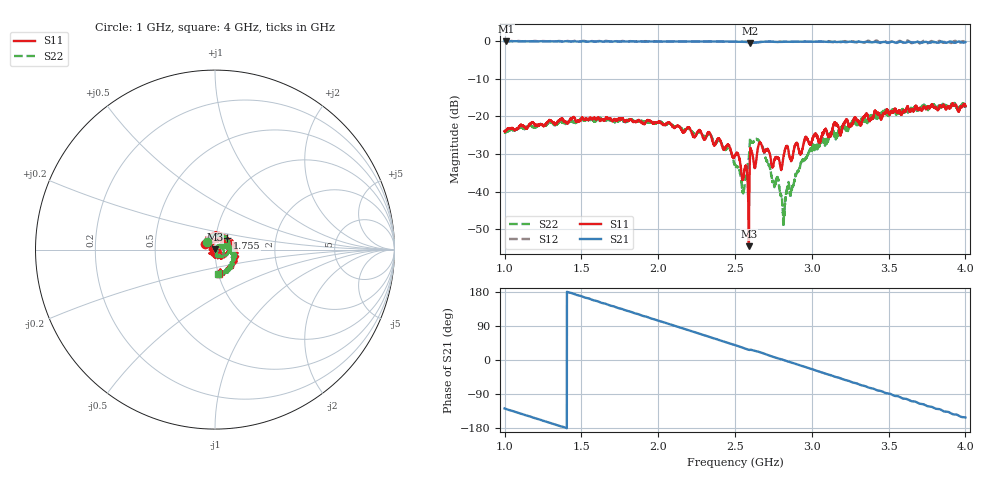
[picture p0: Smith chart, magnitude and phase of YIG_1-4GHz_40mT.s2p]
#  HZ  S  RI  R  50.0
! Rohde & Schwarz ZVL13 2Ports - Version 3.31 - 1303.6509k13 SN: 101088
! Date: 2023-03-06 14:36:43
! Data & Calibration Information:
! Trc4:S11(TOSM) Trc2:S21(TOSM) Trc3:S12(TOSM) Trc5:S22(TOSM)
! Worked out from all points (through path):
!   4000 points, 1 GHz to 4 GHz, reference 50 ohm
!   highest |S21| = -0.06 dB at 1.009 GHz (marker M1); lowest = -0.6 dB at 2.599 GHz (marker M2)
!   group delay of S21, straight-line fit = 356 ps
!   lowest |S11| = -54.5 dB at 2.59 GHz (marker M3), VSWR 1.00, Z = 50 + j0.189 ohm
!   |S11| at or under -10 dB: start of sweep to end of sweep
!   |S22| runs from -48.8 to -16.5 dB; largest |S21 - S12| = 0.071
!   S11 on the Smith chart (normalised r, x): 1 GHz: 0.90, +0.06; 1.755 GHz: 1.13, +0.15; 4 GHz: 1.01, -0.28
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1e9  -0.0541 0.0335  -0.6089 -0.7827  -0.615 -0.781  -0.0458 0.0399
1.009002e9  -0.0528 0.0377  -0.6276 -0.77  -0.626 -0.7636  -0.0462 0.041
1.255064e9  -0.0263 0.0687  -0.932 -0.3237  -0.9403 -0.3315  -0.015 0.0744
1.500375e9  0.0205 0.0907  -0.9668 0.2022  -0.9721 0.1959  0.0395 0.083
1.755439e9  0.0658 0.0649  -0.6973 0.6835  -0.707 0.6921  0.0792 0.0431
2e9  0.0834 0.00413  -0.2372 0.955  -0.233 0.9554  0.0838 -0.00384
2.335334e9  0.0362 -0.0484  0.4814 0.8583  0.4859 0.8578  0.0404 -0.0417
2.500375e9  -0.0154 -0.026  0.7562 0.6166  0.7557 0.6147  0.00877 -0.0204
2.555139e9  -0.0154 -0.00298  0.8266 0.512  0.8259 0.5122  0.0089 -0.00336
2.590398e9  -1.9e-05 0.00189  0.8512 0.4287  0.8557 0.4282  0.0272 0.0085
2.59865e9  0.033 -0.0122  0.8273 0.4243  0.835 0.4234  0.0505 -0.013
2.609902e9  0.0279 -0.0176  0.8436 0.417  0.8487 0.4143  0.0387 -0.0234
2.631658e9  0.00753 -0.0198  0.8666 0.3837  0.8737 0.3867  0.0403 -0.0289
2.662416e9  -0.000422 -0.0449  0.9019 0.3395  0.9036 0.3344  0.0145 -0.0426
2.744186e9  -0.0212 -0.0052  0.9613 0.149  0.9665 0.144  0.00229 -0.0137
2.781695e9  -0.0274 -0.00231  0.9654 0.0725  0.9696 0.0731  0.00981 -0.0102
2.814704e9  -0.0261 0.0103  0.9733 0.00347  0.9719 -0.000174  0.00206 -0.00348
3e9  0.00317 0.0468  0.8905 -0.3981  0.9001 -0.4  0.0247 0.0281
3.268567e9  0.07 0.0418  0.4897 -0.833  0.4995 -0.8511  0.0843 0.0147
3.500375e9  0.111 -0.00346  0.0299 -0.9493  0.0235 -0.94  0.0948 -0.0338
3.725431e9  0.1055 -0.0748  -0.4313 -0.8536  -0.4525 -0.8878  0.0955 -0.1037
4e9  0.0235 -0.1344  -0.8483 -0.4557  -0.8648 -0.4097  0.0151 -0.1299
